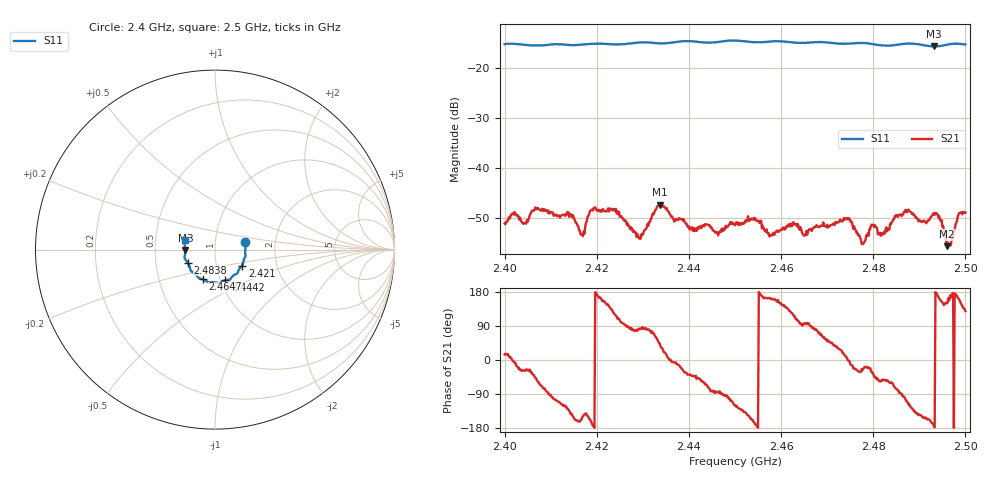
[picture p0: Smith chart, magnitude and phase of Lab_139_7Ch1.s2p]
# Hz S RI R 50
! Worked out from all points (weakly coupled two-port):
!   601 points, 2.4 GHz to 2.5 GHz, reference 50 ohm
!   highest |S21| = -47.38 dB at 2.4337 GHz (marker M1); lowest = -55.7 dB at 2.496 GHz (marker M2)
!   lowest |S11| = -15.7 dB at 2.4932 GHz (marker M3), VSWR 1.39, Z = 35.9 - j0.123 ohm
!   |S11| at or under -10 dB: start of sweep to end of sweep
!   S12 and S22 are empty: the file has one direction only
!   S11 on the Smith chart (normalised r, x): 2.4 GHz: 1.40, +0.12; 2.421 GHz: 1.33, -0.24; 2.4442 GHz: 1.05, -0.37; 2.4647 GHz: 0.83, -0.28; 2.4838 GHz: 0.73, -0.11; 2.5 GHz: 0.71, +0.08
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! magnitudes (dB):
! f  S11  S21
! 2.4 GHz  -15.2  -51.2
! 2.4072 GHz  -15.5  -48.1
! 2.4142 GHz  -15.4  -49.2
! 2.4167 GHz  -15.3  -53.3
! 2.419 GHz  -15.1  -48.4
! 2.421 GHz  -15.1  -48.9
! 2.4292 GHz  -14.9  -54.2
! 2.4333 GHz  -15.0  -47.6
! 2.4337 GHz  -15.0  -47.4
! 2.4407 GHz  -14.6  -52.0
! 2.4442 GHz  -14.9  -51.5
! 2.45 GHz  -14.5  -51.5
! 2.4647 GHz  -14.9  -53.3
! 2.4667 GHz  -14.8  -52.7
! 2.4745 GHz  -15.1  -50.4
! 2.4778 GHz  -15.0  -55.3
! 2.4798 GHz  -15.2  -51.5
! 2.4833 GHz  -15.5  -52.4
! 2.4838 GHz  -15.5  -51.3
! 2.4932 GHz  -15.7  -49.4
! 2.496 GHz  -15.3  -55.7
! 2.5 GHz  -15.3  -49.0
